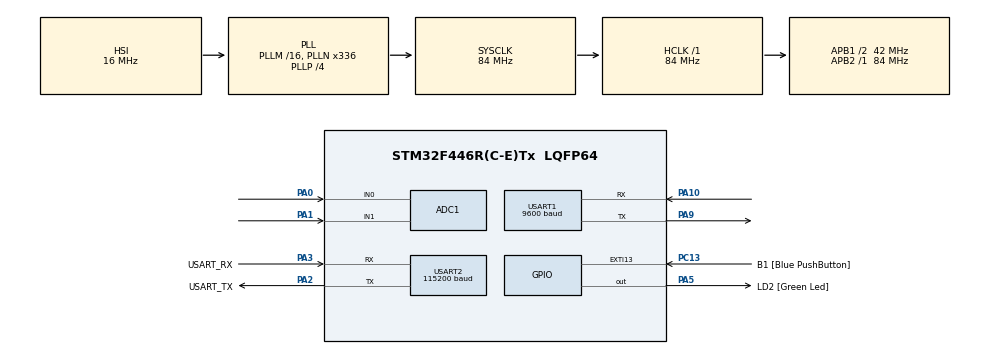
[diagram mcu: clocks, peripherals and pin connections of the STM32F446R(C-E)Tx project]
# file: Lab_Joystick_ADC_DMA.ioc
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ADC1.Channel-0\#ChannelRegularConversion=ADC_CHANNEL_0
ADC1.Channel-3\#ChannelRegularConversion=ADC_CHANNEL_1
ADC1.ContinuousConvMode=ENABLE
ADC1.DMAContinuousRequests=ENABLE
ADC1.InjNumberOfConversion=0
ADC1.NbrOfConversion=2
ADC1.NbrOfConversionFlag=1
ADC1.Rank-0\#ChannelRegularConversion=1
ADC1.Rank-3\#ChannelRegularConversion=2
ADC1.SamplingTime-0\#ChannelRegularConversion=ADC_SAMPLETIME_3CYCLES
ADC1.SamplingTime-3\#ChannelRegularConversion=ADC_SAMPLETIME_3CYCLES
ADC1.ScanConvMode=ENABLE
ADC1.master=1
Dma.ADC1.0.Direction=DMA_PERIPH_TO_MEMORY
Dma.ADC1.0.FIFOMode=DMA_FIFOMODE_DISABLE
Dma.ADC1.0.Instance=DMA2_Stream0
Dma.ADC1.0.MemDataAlignment=DMA_MDATAALIGN_HALFWORD
Dma.ADC1.0.MemInc=DMA_MINC_ENABLE
Dma.ADC1.0.Mode=DMA_CIRCULAR
Dma.ADC1.0.PeriphDataAlignment=DMA_PDATAALIGN_HALFWORD
Dma.ADC1.0.PeriphInc=DMA_PINC_DISABLE
Dma.ADC1.0.Priority=DMA_PRIORITY_HIGH
Dma.Request0=ADC1
Mcu.Family=STM32F4
Mcu.Name=STM32F446R(C-E)Tx
Mcu.Package=LQFP64
NVIC.DMA2_Stream0_IRQn=true\:0\:0\:false\:false\:true\:false\:true\:true
NVIC.PriorityGroup=NVIC_PRIORITYGROUP_0
NVIC.USART1_IRQn=true\:0\:0\:false\:false\:true\:true\:true\:true
PA0-WKUP.Signal=ADCx_IN0
PA1.Signal=ADCx_IN1
PA10.Mode=Asynchronous
PA10.Signal=USART1_RX
PA13.GPIO_Label=TMS
PA13.Signal=SYS_JTMS-SWDIO
PA14.GPIO_Label=TCK
PA14.Signal=SYS_JTCK-SWCLK
PA2.GPIO_Label=USART_TX
PA2.Mode=Asynchronous
PA2.Signal=USART2_TX
PA3.GPIO_Label=USART_RX
PA3.Mode=Asynchronous
PA3.Signal=USART2_RX
PA5.GPIO_Label=LD2 [Green Led]
PA5.Signal=GPIO_Output
PA9.Mode=Asynchronous
PA9.Signal=USART1_TX
PB3.GPIO_Label=SWO
PB3.Signal=SYS_JTDO-SWO
PC13.GPIO_Label=B1 [Blue PushButton]
PC13.GPIO_ModeDefaultEXTI=GPIO_MODE_IT_FALLING
PC13.Signal=GPXTI13
PC14-OSC32_IN.Signal=RCC_OSC32_IN
PC15-OSC32_OUT.Signal=RCC_OSC32_OUT
PH0-OSC_IN.Signal=RCC_OSC_IN
PH1-OSC_OUT.Signal=RCC_OSC_OUT
ProjectManager.HeapSize=0x200
ProjectManager.StackSize=0x400
ProjectManager.TargetToolchain=STM32CubeIDE
RCC.AHBFreq_Value=84000000
RCC.APB1CLKDivider=RCC_HCLK_DIV2
RCC.APB1Freq_Value=42000000
RCC.APB1TimFreq_Value=84000000
RCC.APB2Freq_Value=84000000
RCC.APB2TimFreq_Value=84000000
RCC.CortexFreq_Value=84000000
RCC.FLatency-AdvancedSettings=FLASH_LATENCY_2
RCC.HCLKFreq_Value=84000000
RCC.HSE_VALUE=8000000
RCC.HSI_VALUE=16000000
RCC.LSE_VALUE=32768
RCC.PLLN=336
RCC.PLLP=RCC_PLLP_DIV4
RCC.SYSCLKFreq_VALUE=84000000
RCC.SYSCLKSource=RCC_SYSCLKSOURCE_PLLCLK
RCC.USBFreq_Value=168000000
RCC.VCOOutputFreq_Value=336000000
SH.ADCx_IN0.0=ADC1_IN0,IN0
SH.ADCx_IN1.0=ADC1_IN1,IN1
USART1.BaudRate=9600
USART1.VirtualMode=VM_ASYNC
USART2.BaudRate=115200
USART2.VirtualMode=VM_ASYNC
board=NUCLEO-F446RE

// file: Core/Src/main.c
/* USER CODE BEGIN Header */
/**
  ******************************************************************************
  * @file           : main.c
  * @brief          : Main program body
  ******************************************************************************
  * @attention
  *
  * Copyright (c) 2026 STMicroelectronics.
  * All rights reserved.
  *
  * This software is licensed under terms that can be found in the LICENSE file
  * in the root directory of this software component.
  * If no LICENSE file comes with this software, it is provided AS-IS.
  *
  ******************************************************************************
  */
/* USER CODE END Header */
#include "main.h"

/* USER CODE BEGIN Includes */
#include <stdio.h>
#include <string.h>
/* USER CODE END Includes */

/* USER CODE BEGIN PD */
#define ADC_MITAD 2048U
/* USER CODE END PD */

ADC_HandleTypeDef hadc1;
DMA_HandleTypeDef hdma_adc1;

UART_HandleTypeDef huart1;
UART_HandleTypeDef huart2;

/* USER CODE BEGIN PV */

volatile uint16_t adcBuffer[2];

static uint8_t rxNano;
static volatile uint8_t comandoNano;
static volatile uint8_t comandoPendiente;

static uint32_t ultimoJoystick = 0U;

/* USER CODE END PV */

void SystemClock_Config(void);
static void MX_GPIO_Init(void);
static void MX_DMA_Init(void);
static void MX_ADC1_Init(void);
static void MX_USART2_UART_Init(void);
static void MX_USART1_UART_Init(void);

/* USER CODE BEGIN 0 */
static const char *interpretarComando(uint8_t comando)
{
    switch (comando)
    {
        case 'U': return "Arriba";
        case 'D': return "Abajo";
        case 'R': return "Derecha";
        case 'L': return "Izquierda";
        case 'A': return "A";
        case 'B': return "B";
        default:  return NULL;
    }
}

/* USER CODE END 0 */

int main(void)
{

  /* MCU Configuration--------------------------------------------------------*/

  /* Reset of all peripherals, Initializes the Flash interface and the Systick. */
  HAL_Init();

  /* Configure the system clock */
  SystemClock_Config();

  /* Initialize all configured peripherals */
  MX_GPIO_Init();
  MX_DMA_Init();
  MX_ADC1_Init();
  MX_USART2_UART_Init();
  MX_USART1_UART_Init();

  /* USER CODE BEGIN 2 */

  static const uint8_t uartOk[] = "UART OK\r\n";
  static const uint8_t adcOk[] = "ADC DMA OK\r\n";

  HAL_UART_Transmit(
      &huart2,
      (uint8_t *)uartOk,
      (uint16_t)(sizeof(uartOk) - 1U),
      100U
  );

  if (HAL_ADC_Start_DMA(
          &hadc1,
          (uint32_t *)adcBuffer,
          2U) != HAL_OK)
  {
      Error_Handler();
  }

  /* No usamos callbacks del DMA */
  __HAL_DMA_DISABLE_IT(hadc1.DMA_Handle, DMA_IT_HT);
  __HAL_DMA_DISABLE_IT(hadc1.DMA_Handle, DMA_IT_TC);

  /* Iniciar recepción del Nano mediante interrupción */
  if (HAL_UART_Receive_IT(
          &huart1,
          &rxNano,
          1U) != HAL_OK)
  {
      Error_Handler();
  }

  HAL_UART_Transmit(
      &huart2,
      (uint8_t *)adcOk,
      (uint16_t)(sizeof(adcOk) - 1U),
      100U
  );

  /* USER CODE END 2 */

  /* Infinite loop */
  /* USER CODE BEGIN WHILE */

  while (1)
  {
      //Lectura delnano
      if (comandoPendiente)
      {
          uint8_t comando;
          const char *accion;
          char msg[40];

          __disable_irq();

          comando = comandoNano;
          comandoPendiente = 0U;

          __enable_irq();

          accion = interpretarComando(comando);

          if (accion != NULL)
          {
              int longitud = snprintf(
                  msg,
                  sizeof(msg),
                  "Control 2: %s\r\n",
                  accion
              );

              if ((longitud > 0) &&
                  (longitud < (int)sizeof(msg)))
              {
                  HAL_UART_Transmit(
                      &huart2,
                      (uint8_t *)msg,
                      (uint16_t)longitud,
                      100U
                  );
              }
          }
      }

      /* Procesar Control 1 cada 200 ms */
      if ((HAL_GetTick() - ultimoJoystick) >= 200U)
      {
          char msg[50];
          const char *vertical;
          const char *horizontal;
          int longitud;

          ultimoJoystick = HAL_GetTick();

          vertical = (adcBuffer[0] > ADC_MITAD)
                   ? "Arriba"
                   : "Abajo";

          horizontal = (adcBuffer[1] > ADC_MITAD)
                     ? "Derecha"
                     : "Izquierda";

          longitud = snprintf(
              msg,
              sizeof(msg),
              "Control 1: %s - %s\r\n",
              vertical,
              horizontal
          );

          if ((longitud > 0) &&
              (longitud < (int)sizeof(msg)))
          {
              HAL_UART_Transmit(
                  &huart2,
                  (uint8_t *)msg,
                  (uint16_t)longitud,
                  100U
              );
          }

          HAL_GPIO_TogglePin(
              LD2_GPIO_Port,
              LD2_Pin
          );
      }

    /* USER CODE END WHILE */

  }
}

void SystemClock_Config(void)
{
  RCC_OscInitTypeDef RCC_OscInitStruct = {0};
  RCC_ClkInitTypeDef RCC_ClkInitStruct = {0};

  /** Configure the main internal regulator output voltage
  */
  __HAL_RCC_PWR_CLK_ENABLE();
  __HAL_PWR_VOLTAGESCALING_CONFIG(PWR_REGULATOR_VOLTAGE_SCALE3);

  /** Initializes the RCC Oscillators according to the specified parameters
  * in the RCC_OscInitTypeDef structure.
  */
  RCC_OscInitStruct.OscillatorType = RCC_OSCILLATORTYPE_HSI;
  RCC_OscInitStruct.HSIState = RCC_HSI_ON;
  RCC_OscInitStruct.HSICalibrationValue = RCC_HSICALIBRATION_DEFAULT;
  RCC_OscInitStruct.PLL.PLLState = RCC_PLL_ON;
  RCC_OscInitStruct.PLL.PLLSource = RCC_PLLSOURCE_HSI;
  RCC_OscInitStruct.PLL.PLLM = 16;
  RCC_OscInitStruct.PLL.PLLN = 336;
  RCC_OscInitStruct.PLL.PLLP = RCC_PLLP_DIV4;
  RCC_OscInitStruct.PLL.PLLQ = 2;
  RCC_OscInitStruct.PLL.PLLR = 2;
  if (HAL_RCC_OscConfig(&RCC_OscInitStruct) != HAL_OK)
  {
    Error_Handler();
  }

  /** Initializes the CPU, AHB and APB buses clocks
  */
  RCC_ClkInitStruct.ClockType = RCC_CLOCKTYPE_HCLK|RCC_CLOCKTYPE_SYSCLK
                              |RCC_CLOCKTYPE_PCLK1|RCC_CLOCKTYPE_PCLK2;
  RCC_ClkInitStruct.SYSCLKSource = RCC_SYSCLKSOURCE_PLLCLK;
  RCC_ClkInitStruct.AHBCLKDivider = RCC_SYSCLK_DIV1;
  RCC_ClkInitStruct.APB1CLKDivider = RCC_HCLK_DIV2;
  RCC_ClkInitStruct.APB2CLKDivider = RCC_HCLK_DIV1;

  if (HAL_RCC_ClockConfig(&RCC_ClkInitStruct, FLASH_LATENCY_2) != HAL_OK)
  {
    Error_Handler();
  }
}

static void MX_ADC1_Init(void)
{

  ADC_ChannelConfTypeDef sConfig = {0};

  /** Configure the global features of the ADC (Clock, Resolution, Data Alignment and number of conversion)
  */
  hadc1.Instance = ADC1;
  hadc1.Init.ClockPrescaler = ADC_CLOCK_SYNC_PCLK_DIV4;
  hadc1.Init.Resolution = ADC_RESOLUTION_12B;
  hadc1.Init.ScanConvMode = ENABLE;
  hadc1.Init.ContinuousConvMode = ENABLE;
  hadc1.Init.DiscontinuousConvMode = DISABLE;
  hadc1.Init.ExternalTrigConvEdge = ADC_EXTERNALTRIGCONVEDGE_NONE;
  hadc1.Init.ExternalTrigConv = ADC_SOFTWARE_START;
  hadc1.Init.DataAlign = ADC_DATAALIGN_RIGHT;
  hadc1.Init.NbrOfConversion = 2;
  hadc1.Init.DMAContinuousRequests = ENABLE;
  hadc1.Init.EOCSelection = ADC_EOC_SINGLE_CONV;
  if (HAL_ADC_Init(&hadc1) != HAL_OK)
  {
    Error_Handler();
  }

  /** Configure for the selected ADC regular channel its corresponding rank in the sequencer and its sample time.
  */
  sConfig.Channel = ADC_CHANNEL_0;
  sConfig.Rank = 1;
  sConfig.SamplingTime = ADC_SAMPLETIME_3CYCLES;
  if (HAL_ADC_ConfigChannel(&hadc1, &sConfig) != HAL_OK)
  {
    Error_Handler();
  }

  /** Configure for the selected ADC regular channel its corresponding rank in the sequencer and its sample time.
  */
  sConfig.Channel = ADC_CHANNEL_1;
  sConfig.Rank = 2;
  if (HAL_ADC_ConfigChannel(&hadc1, &sConfig) != HAL_OK)
  {
    Error_Handler();
  }

}

static void MX_USART1_UART_Init(void)
{

  huart1.Instance = USART1;
  huart1.Init.BaudRate = 9600;
  huart1.Init.WordLength = UART_WORDLENGTH_8B;
  huart1.Init.StopBits = UART_STOPBITS_1;
  huart1.Init.Parity = UART_PARITY_NONE;
  huart1.Init.Mode = UART_MODE_TX_RX;
  huart1.Init.HwFlowCtl = UART_HWCONTROL_NONE;
  huart1.Init.OverSampling = UART_OVERSAMPLING_16;
  if (HAL_UART_Init(&huart1) != HAL_OK)
  {
    Error_Handler();
  }

}

static void MX_USART2_UART_Init(void)
{

  huart2.Instance = USART2;
  huart2.Init.BaudRate = 115200;
  huart2.Init.WordLength = UART_WORDLENGTH_8B;
  huart2.Init.StopBits = UART_STOPBITS_1;
  huart2.Init.Parity = UART_PARITY_NONE;
  huart2.Init.Mode = UART_MODE_TX_RX;
  huart2.Init.HwFlowCtl = UART_HWCONTROL_NONE;
  huart2.Init.OverSampling = UART_OVERSAMPLING_16;
  if (HAL_UART_Init(&huart2) != HAL_OK)
  {
    Error_Handler();
  }

}

static void MX_DMA_Init(void)
{

  /* DMA controller clock enable */
  __HAL_RCC_DMA2_CLK_ENABLE();

  /* DMA interrupt init */
  /* DMA2_Stream0_IRQn interrupt configuration */
  HAL_NVIC_SetPriority(DMA2_Stream0_IRQn, 0, 0);
  HAL_NVIC_EnableIRQ(DMA2_Stream0_IRQn);

}

static void MX_GPIO_Init(void)
{
  GPIO_InitTypeDef GPIO_InitStruct = {0};

  /* GPIO Ports Clock Enable */
  __HAL_RCC_GPIOC_CLK_ENABLE();
  __HAL_RCC_GPIOH_CLK_ENABLE();
  __HAL_RCC_GPIOA_CLK_ENABLE();
  __HAL_RCC_GPIOB_CLK_ENABLE();

  /*Configure GPIO pin Output Level */
  HAL_GPIO_WritePin(LD2_GPIO_Port, LD2_Pin, GPIO_PIN_RESET);

  /*Configure GPIO pin : B1_Pin */
  GPIO_InitStruct.Pin = B1_Pin;
  GPIO_InitStruct.Mode = GPIO_MODE_IT_FALLING;
  GPIO_InitStruct.Pull = GPIO_NOPULL;
  HAL_GPIO_Init(B1_GPIO_Port, &GPIO_InitStruct);

  /*Configure GPIO pin : LD2_Pin */
  GPIO_InitStruct.Pin = LD2_Pin;
  GPIO_InitStruct.Mode = GPIO_MODE_OUTPUT_PP;
  GPIO_InitStruct.Pull = GPIO_NOPULL;
  GPIO_InitStruct.Speed = GPIO_SPEED_FREQ_LOW;
  HAL_GPIO_Init(LD2_GPIO_Port, &GPIO_InitStruct);

  /* USER CODE BEGIN MX_GPIO_Init_2 */
  GPIO_InitStruct.Pin = GPIO_PIN_0 | GPIO_PIN_1;
  GPIO_InitStruct.Mode = GPIO_MODE_ANALOG;
  GPIO_InitStruct.Pull = GPIO_NOPULL;
  HAL_GPIO_Init(GPIOA, &GPIO_InitStruct);
  /* USER CODE END MX_GPIO_Init_2 */
}

/* USER CODE BEGIN 4 */
void HAL_UART_RxCpltCallback(UART_HandleTypeDef *huart)
{
    if (huart->Instance == USART1)
    {
        comandoNano = rxNano;
        comandoPendiente = 1U;

        /* Rearmar inmediatamente la recepción */
        HAL_UART_Receive_IT(&huart1, &rxNano, 1U);
    }
}

/* USER CODE END 4 */

void Error_Handler(void)
{
  __disable_irq();
  while (1)
  {
  }
}
